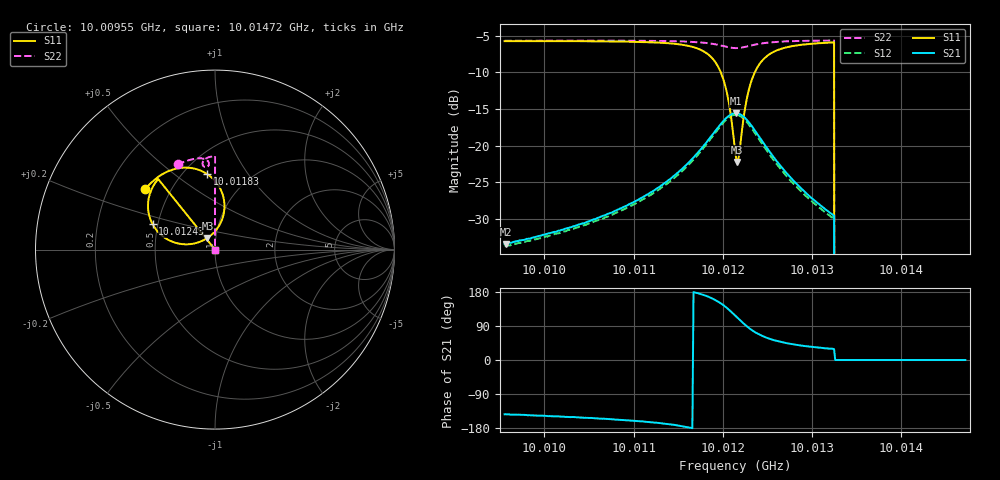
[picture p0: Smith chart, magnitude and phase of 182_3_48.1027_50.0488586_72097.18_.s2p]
#  HZ  S  RI  R  50.00
! Rohde & Schwarz Vector Network Analyzer
! Rohde-Schwarz,ZNB20-2Port,1311601062101988,3.16
! Created: UTC 12/23/2023, 3:52:52 AM
! freq[Hz]  re:S11  im:S11  re:S21  im:S21  re:S12  im:S12  re:S22  im:S22
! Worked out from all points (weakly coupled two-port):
!   401 points, 10.00955 GHz to 10.01472 GHz, reference 50 ohm
!   highest |S21| = -15.58 dB at 10.01215 GHz (marker M1); lowest = -33.4 dB at 10.00957 GHz (marker M2)
!   lowest |S11| = -22.2 dB at 10.01216 GHz (marker M3), VSWR 1.17, Z = 45.6 + j5.97 ohm
!   |S11| at or under -10 dB: 10.01198 GHz to 10.01236 GHz (382.4 kHz wide, 0.00382 % of centre); 10.01325 GHz to end of sweep
!   |S22| runs from - to -5.7 dB; largest |S21 - S12| = 0.0086
!   S11 on the Smith chart (normalised r, x): 10.00955 GHz: 0.36, +0.33; 10.01183 GHz: 0.65, +0.66; 10.01243 GHz: 0.47, +0.15; 10.01472 GHz: 1.00, +0.00
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1.0009554e10  -0.3888 0.338  -0.0171 -0.0128  -0.0159 -0.0131  -0.2085 0.4742
1.0009567e10  -0.388 0.3386  -0.0171 -0.0128  -0.0159 -0.0133  -0.2077 0.4746
1.0010419e10  -0.3337 0.3919  -0.0259 -0.0138  -0.0243 -0.0145  -0.1544 0.4952
1.0011284e10  -0.2319 0.4469  -0.0506 -0.0124  -0.0482 -0.0142  -0.0933 0.5081
1.0011826e10  -0.0429 0.4204  -0.1047 0.022  -0.1026 0.016  -0.044 0.4977
1.0011929e10  0.0178 0.3593  -0.118 0.052  -0.1175 0.044  -0.0356 0.4872
1.0012006e10  0.0501 0.2763  -0.12 0.0853  -0.1207 0.0778  -0.0337 0.4757
1.0012071e10  0.0447 0.184  -0.1071 0.1191  -0.1098 0.1111  -0.0378 0.4657
1.0012135e10  -0.00796 0.0932  -0.077 0.1472  -0.0808 0.1406  -0.0474 0.4594
1.0012148e10  -0.0242 0.0782  -0.0694 0.1512  -0.0732 0.1446  -0.0496 0.4592
1.0012161e10  -0.0418 0.0651  -0.0614 0.1543  -0.0652 0.148  -0.0521 0.459
1.0012187e10  -0.0806 0.0448  -0.0451 0.1579  -0.0492 0.1518  -0.0567 0.4597
1.0012239e10  -0.1624 0.0292  -0.0131 0.1556  -0.0176 0.1501  -0.0644 0.4648
1.001229e10  -0.2357 0.0432  0.0136 0.1436  0.00849 0.1388  -0.0688 0.4722
1.0012355e10  -0.3022 0.0837  0.0351 0.1227  0.0291 0.1192  -0.0698 0.4823
1.0012432e10  -0.3473 0.1407  0.0468 0.0984  0.0415 0.0957  -0.0664 0.4925
1.0012678e10  -0.3712 0.2746  0.0477 0.0496  0.0435 0.0492  -0.0457 0.5103
1.0013e10  -0.3416 0.3583  0.0359 0.0246  0.0329 0.0251  -0.0185 0.5185
1.001322e10  -0.3194 0.3903  0.0296 0.017  0.0274 0.0174  -0.00169 0.5207
1.0013284e10  0 0  0 0  0 0  0 0
1.0013865e10  0 0  0 0  0 0  0 0
1.0014717e10  0 0  0 0  0 0  0 0
